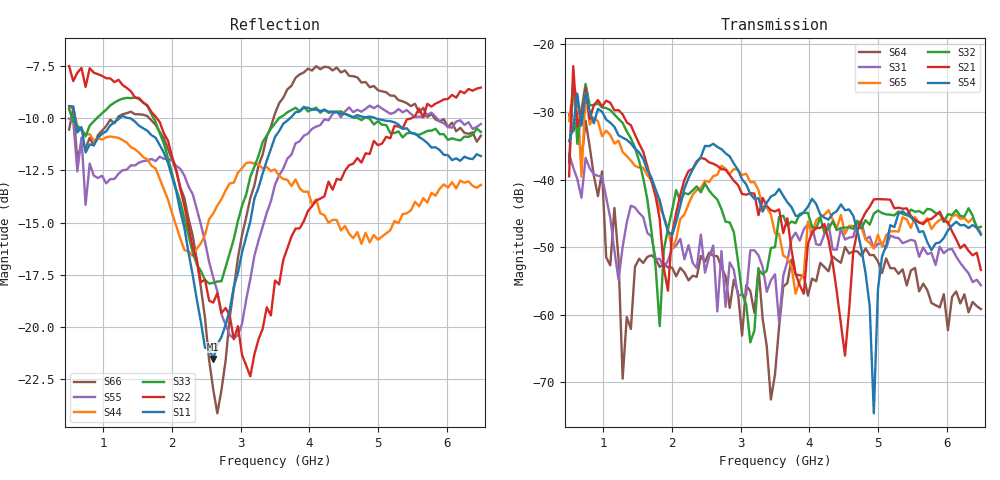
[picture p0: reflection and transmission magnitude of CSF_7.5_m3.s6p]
!Keysight Technologies,M9804A,MY58100912,A.14.10.03
!Date: Thursday, April 27, 2023 10:28:33
!Correction: S11(C  6-Port  )
!S12(C  6-Port  )
!S13(C  6-Port  )
!S14(C  6-Port  )
!S15(C  6-Port  )
!S16(C  6-Port  )
!S21(C  6-Port  )
!S22(C  6-Port  )
!S23(C  6-Port  )
!S24(C  6-Port  )
!S25(C  6-Port  )
!S26(C  6-Port  )
!S31(C  6-Port  )
!S32(C  6-Port  )
!S33(C  6-Port  )
!S34(C  6-Port  )
!S35(C  6-Port  )
!S36(C  6-Port  )
!S41(C  6-Port  )
!S42(C  6-Port  )
!S43(C  6-Port  )
!S44(C  6-Port  )
!S45(C  6-Port  )
!S46(C  6-Port  )
!S51(C  6-Port  )
!S52(C  6-Port  )
!S53(C  6-Port  )
!S54(C  6-Port  )
!S55(C  6-Port  )
!S56(C  6-Port  )
!S61(C  6-Port  )
!S62(C  6-Port  )
!S63(C  6-Port  )
!S64(C  6-Port  )
!S65(C  6-Port  )
!S66(C  6-Port  )
!S6P File: Measurement: :
# Hz S  RI  R 50
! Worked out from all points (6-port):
!   101 points, 500 MHz to 6.5 GHz, reference 50 ohm
!   strongest paths, dB at 500 MHz, 2 GHz, 3.5 GHz, 5 GHz, 6.5 GHz:
!     S54: -34.3, -48.2, -42.2, -56.3, -48.2
!     S21: -39.5, -48.0, -44.7, -42.9, -53.4
!     S32: -37.6, -44.6, -50.0, -44.6, -47.0
!     S65: -31.3, -50.3, -48.0, -48.2, -47.9
!     S31: -36.2, -50.2, -54.0, -49.5, -55.6
!     S64: -30.4, -53.0, -68.8, -52.1, -59.2
!   lowest |S11| = -21.5 dB at 2.6 GHz (marker M1), VSWR 1.18, Z = 42.5 + j2.06 ohm
!   |S11| at or under -10 dB: 587.3 MHz to 1.235 GHz (647.9 MHz wide, 71.1 % of centre); 1.39 GHz to 3.717 GHz (2.327 GHz wide, 91.1 % of centre); 4.967 GHz to end of sweep
